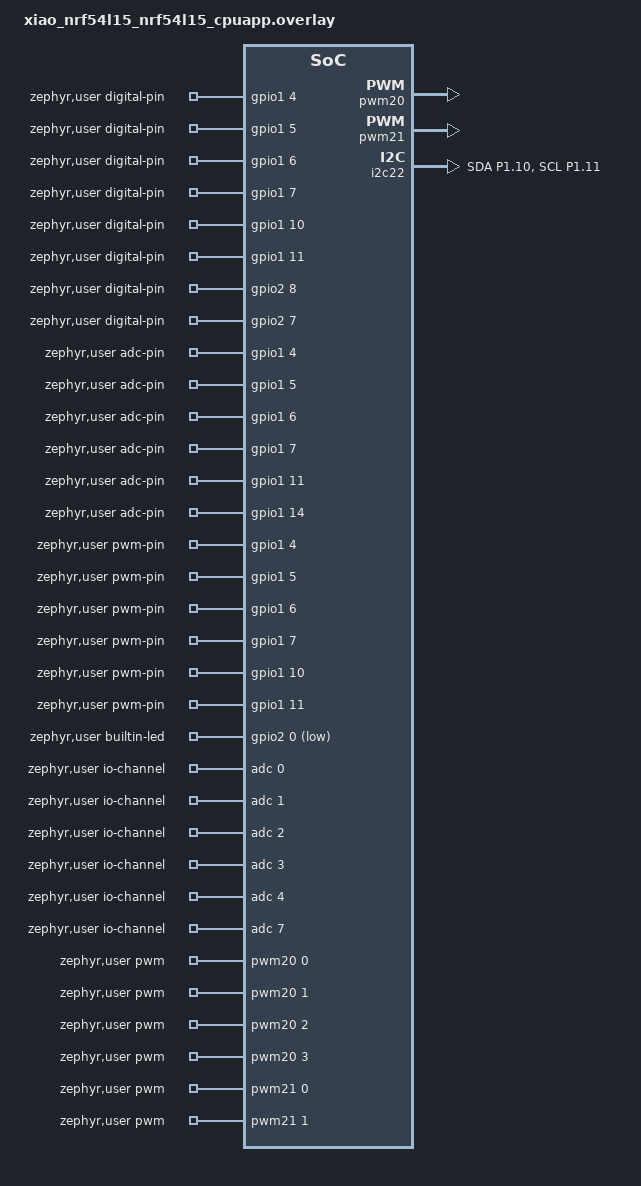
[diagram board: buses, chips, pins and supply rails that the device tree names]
/*
 * Copyright (c) 2026 Seeed Technology Inc.
 *
 * SPDX-License-Identifier: Apache-2.0
 */

/*
 * Pin map (from boards/seeed/xiao_nrf54l15/seeed_xiao_connector.dtsi
 * and the board pinctrl):
 *   D0..D5  = P1.04 P1.05 P1.06 P1.07 P1.10 P1.11 (A0-A3, A4; D4/D5 = SDA/SCL)
 *   D6..D10 = P2.08 P2.07 P2.01 P2.04 P2.02       (Serial1 TX/RX, SPI SCK/MISO/MOSI)
 *   D11/D12 = P0.03/P0.04                         (back pads, Wire1 SCL/SDA)
 *   D13..D15 = P2.10 P2.09 P2.06                  (back pads)
 *   D16 = P2.00 user LED (active low), D17 = P0.00 user button,
 *   D18 = P1.14 VBAT sense (A5 = AIN7)
 * Hardware PWM: pwm20 ch0-3 = D0-D3, pwm21 ch0-1 = D4-D5. The P2 port
 * has no PWM peripheral routing on nRF54L15, so D6+ have no hardware
 * analogWrite() (matches the community core behaviour).
 * Serial = uart20 console, bridged to the host USB by the onboard
 * SAMD11; Serial1 = uart21 (D6/D7); Wire = i2c22 (D4/D5), Wire1 =
 * i2c30 (D11/D12, Sense IMU on Wire1); SPI = spi00 (D8/D9/D10).
 */

/ {
	chosen {
		zephyr,code-partition = &code_partition;
	};

	zephyr,user {
		digital-pin-gpios = <&gpio1 4 0>,			/* D0 */
			<&gpio1 5 0>,			/* D1 */
			<&gpio1 6 0>,			/* D2 */
			<&gpio1 7 0>,			/* D3 */
			<&gpio1 10 0>,			/* D4 / SDA */
			<&gpio1 11 0>,			/* D5 / SCL */
			<&gpio2 8 0>,			/* D6 / TX */
			<&gpio2 7 0>,			/* D7 / RX */
			<&gpio2 1 0>,			/* D8 / SCK */
			<&gpio2 4 0>,			/* D9 / MISO */
			<&gpio2 2 0>,			/* D10 / MOSI */
			<&gpio0 3 0>,			/* D11 / Wire1 SCL */
			<&gpio0 4 0>,			/* D12 / Wire1 SDA */
			<&gpio2 10 0>,			/* D13 */
			<&gpio2 9 0>,			/* D14 */
			<&gpio2 6 0>,			/* D15 */
			<&gpio2 0 GPIO_ACTIVE_LOW>,	/* D16 user LED */
			<&gpio0 0 GPIO_ACTIVE_LOW>,	/* D17 user button */
			<&gpio1 14 0>;			/* D18 VBAT sense */

		adc-pin-gpios = <&gpio1 4 0>,			/* A0 = D0, AIN0 */
			<&gpio1 5 0>,			/* A1 = D1, AIN1 */
			<&gpio1 6 0>,			/* A2 = D2, AIN2 */
			<&gpio1 7 0>,			/* A3 = D3, AIN3 */
			<&gpio1 11 0>,			/* A4 = D5, AIN4 */
			<&gpio1 14 0>;			/* A5 = D18 VBAT, AIN7 */

		pwm-pin-gpios = <&gpio1 4 0>,			/* D0 */
			<&gpio1 5 0>,			/* D1 */
			<&gpio1 6 0>,			/* D2 */
			<&gpio1 7 0>,			/* D3 */
			<&gpio1 10 0>,			/* D4 */
			<&gpio1 11 0>;			/* D5 */

		builtin-led-gpios = <&gpio2 0 GPIO_ACTIVE_LOW>;	/* D16 */

		pwms = <&pwm20 0 PWM_HZ(500) PWM_POLARITY_NORMAL>,
			<&pwm20 1 PWM_HZ(500) PWM_POLARITY_NORMAL>,
			<&pwm20 2 PWM_HZ(500) PWM_POLARITY_NORMAL>,
			<&pwm20 3 PWM_HZ(500) PWM_POLARITY_NORMAL>,
			<&pwm21 0 PWM_HZ(500) PWM_POLARITY_NORMAL>,
			<&pwm21 1 PWM_HZ(500) PWM_POLARITY_NORMAL>;

		io-channels = <&adc 0>,			/* A0 = AIN0 */
			<&adc 1>,			/* A1 = AIN1 */
			<&adc 2>,			/* A2 = AIN2 */
			<&adc 3>,			/* A3 = AIN3 */
			<&adc 4>,			/* A4 = AIN4 */
			<&adc 7>;			/* A5 = AIN7 VBAT */

		serials = <&uart20>,		/* Serial: console, bridged to USB */
			<&uart21>;		/* Serial1: D6/D7 */
		i2cs = <&i2c22>,		/* Wire: D4/D5 */
			<&i2c30>;		/* Wire1: D11/D12 (Sense IMU) */
		spis = <&spi00>;		/* SPI: D8/D9/D10 */
	};
};

&pinctrl {
	i2c22_arduino_default: i2c22_arduino_default {
		group1 {
			psels = <NRF_PSEL(TWIM_SDA, 1, 10)>,
				<NRF_PSEL(TWIM_SCL, 1, 11)>;
			/* The XIAO connector has no I2C pull-ups and the nRF54 TWIM
			 * stalls on a floating bus (unlike nRF52, which NACKs), so
			 * enable the internal pull-ups to make Wire usable with
			 * external devices. */
			bias-pull-up;
		};
	};

	empty_default: empty_default {
		group1 {
			psels = <>;
		};
	};

	pwm20_default: pwm20_default {
		group1 {
			psels = <NRF_PSEL(PWM_OUT0, 1, 4)>,
				<NRF_PSEL(PWM_OUT1, 1, 5)>,
				<NRF_PSEL(PWM_OUT2, 1, 6)>,
				<NRF_PSEL(PWM_OUT3, 1, 7)>;
			nordic,invert;
		};
	};

	pwm20_sleep: pwm20_sleep {
		group1 {
			psels = <NRF_PSEL(PWM_OUT0, 1, 4)>,
				<NRF_PSEL(PWM_OUT1, 1, 5)>,
				<NRF_PSEL(PWM_OUT2, 1, 6)>,
				<NRF_PSEL(PWM_OUT3, 1, 7)>;
			low-power-enable;
		};
	};

	pwm21_default: pwm21_default {
		group1 {
			psels = <NRF_PSEL(PWM_OUT0, 1, 10)>,
				<NRF_PSEL(PWM_OUT1, 1, 11)>;
			nordic,invert;
		};
	};

	pwm21_sleep: pwm21_sleep {
		group1 {
			psels = <NRF_PSEL(PWM_OUT0, 1, 10)>,
				<NRF_PSEL(PWM_OUT1, 1, 11)>;
			low-power-enable;
		};
	};
};

&pwm20 {
	status = "okay";
	zephyr,deferred-init;
	pinctrl-0 = <&empty_default>;
	pinctrl-1 = <&pwm20_sleep>;
	pinctrl-2 = <&pwm20_default>;
	pinctrl-names = "default", "sleep", "arduino";
};

&pwm21 {
	status = "okay";
	zephyr,deferred-init;
	pinctrl-0 = <&empty_default>;
	pinctrl-1 = <&pwm21_sleep>;
	pinctrl-2 = <&pwm21_default>;
	pinctrl-names = "default", "sleep", "arduino";
};

&i2c22 {
	pinctrl-0 = <&i2c22_arduino_default>;
};

&cpuapp_rram {
	partitions {
		/* The SoC default layout reserves 62 KB at 0x0 for MCUboot
		 * with two 712 KB image slots. This core has no MCUboot:
		 * partition@0 (the MCUboot area) becomes the Arduino loader
		 * holding the reset vector at 0x0, and the two image slots
		 * are removed so the sketch can take the whole space above
		 * the loader. */
		/delete-node/ partition@10000;
		/delete-node/ partition@c2000;

		code_partition: partition@0 {
			compatible = "zephyr,mapped-partition";
			label = "code";
			reg = <0x00000000 0x00060000>;	/* loader: 384 KB */
			read-only;
		};

		user_sketch: partition@60000 {
			compatible = "zephyr,mapped-partition";
			label = "user";
			reg = <0x00060000 0x00114000>;	/* sketch: 1104 KB */
		};

		/* storage_partition (36 KB at 0x174000) is kept from the
		 * SoC default layout. */
	};
};
